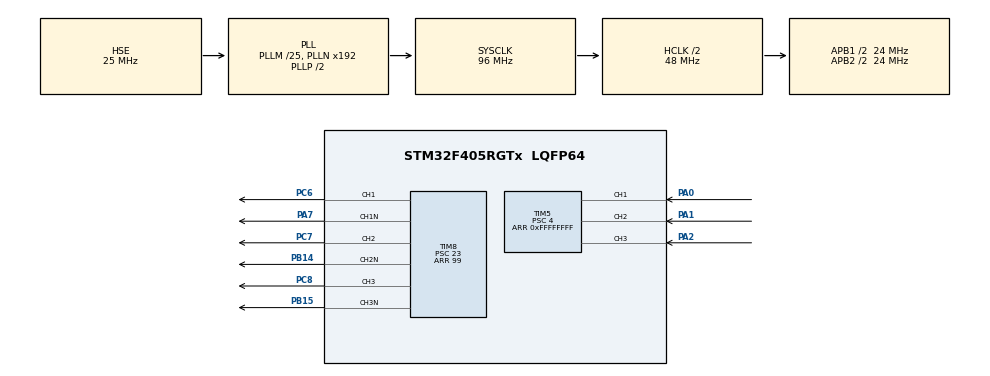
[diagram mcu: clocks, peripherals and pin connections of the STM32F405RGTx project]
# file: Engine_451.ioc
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Mcu.Family=STM32F4
Mcu.Name=STM32F405RGTx
Mcu.Package=LQFP64
NVIC.PriorityGroup=NVIC_PRIORITYGROUP_4
NVIC.TIM5_IRQn=true\:0\:0\:false\:false\:false\:true\:true
NVIC.TIM8_TRG_COM_TIM14_IRQn=true\:0\:0\:false\:false\:false\:true\:true
NVIC.TIM8_UP_TIM13_IRQn=true\:0\:0\:false\:false\:true\:true\:true
PA0-WKUP.GPIO_PuPd=GPIO_PULLUP
PA0-WKUP.GPIO_Speed=GPIO_SPEED_FREQ_VERY_HIGH
PA0-WKUP.Signal=S_TIM5_CH1
PA1.GPIO_PuPd=GPIO_PULLUP
PA1.GPIO_Speed=GPIO_SPEED_FREQ_VERY_HIGH
PA1.Signal=S_TIM5_CH2
PA2.GPIO_PuPd=GPIO_PULLUP
PA2.GPIO_Speed=GPIO_SPEED_FREQ_VERY_HIGH
PA2.Signal=S_TIM5_CH3
PA7.GPIO_PuPd=GPIO_PULLUP
PA7.GPIO_Speed=GPIO_SPEED_FREQ_VERY_HIGH
PA7.Mode=PWM Generation1 CH1 CH1N
PA7.Signal=TIM8_CH1N
PB14.GPIO_PuPd=GPIO_PULLUP
PB14.GPIO_Speed=GPIO_SPEED_FREQ_VERY_HIGH
PB14.Mode=PWM Generation2 CH2 CH2N
PB14.Signal=TIM8_CH2N
PB15.GPIO_PuPd=GPIO_PULLUP
PB15.GPIO_Speed=GPIO_SPEED_FREQ_VERY_HIGH
PB15.Mode=PWM Generation3 CH3 CH3N
PB15.Signal=TIM8_CH3N
PC6.GPIO_PuPd=GPIO_PULLUP
PC6.GPIO_Speed=GPIO_SPEED_FREQ_VERY_HIGH
PC6.Signal=S_TIM8_CH1
PC7.GPIO_PuPd=GPIO_PULLUP
PC7.GPIO_Speed=GPIO_SPEED_FREQ_VERY_HIGH
PC7.Signal=S_TIM8_CH2
PC8.GPIO_PuPd=GPIO_PULLUP
PC8.GPIO_Speed=GPIO_SPEED_FREQ_VERY_HIGH
PC8.Signal=S_TIM8_CH3
PH0-OSC_IN.Mode=HSE-External-Oscillator
PH0-OSC_IN.Signal=RCC_OSC_IN
PH1-OSC_OUT.Mode=HSE-External-Oscillator
PH1-OSC_OUT.Signal=RCC_OSC_OUT
ProjectManager.HeapSize=0x200
ProjectManager.StackSize=0x400
ProjectManager.TargetToolchain=MDK-ARM V5
RCC.48MHZClocksFreq_Value=48000000
RCC.AHBCLKDivider=RCC_SYSCLK_DIV2
RCC.AHBFreq_Value=48000000
RCC.APB1CLKDivider=RCC_HCLK_DIV2
RCC.APB1Freq_Value=24000000
RCC.APB1TimFreq_Value=48000000
RCC.APB2CLKDivider=RCC_HCLK_DIV2
RCC.APB2Freq_Value=24000000
RCC.APB2TimFreq_Value=48000000
RCC.CortexFreq_Value=48000000
RCC.HCLKFreq_Value=48000000
RCC.HSE_VALUE=25000000
RCC.HSI_VALUE=16000000
RCC.LSE_VALUE=32768
RCC.PLLM=25
RCC.PLLSourceVirtual=RCC_PLLSOURCE_HSE
RCC.SYSCLKFreq_VALUE=96000000
RCC.SYSCLKSource=RCC_SYSCLKSOURCE_PLLCLK
RCC.VCOOutputFreq_Value=192000000
SH.S_TIM5_CH1.0=TIM5_CH1,Input_Capture1_from_TI1
SH.S_TIM5_CH1.1=TIM5_CH1,TriggerSource_TI1FP1
SH.S_TIM5_CH2.0=TIM5_CH2,Input_Capture2_from_TI2
SH.S_TIM5_CH3.0=TIM5_CH3,Input_Capture3_from_TI3
SH.S_TIM8_CH1.0=TIM8_CH1,PWM Generation1 CH1 CH1N
SH.S_TIM8_CH2.0=TIM8_CH2,PWM Generation2 CH2 CH2N
SH.S_TIM8_CH3.0=TIM8_CH3,PWM Generation3 CH3 CH3N
TIM13.Period=499
TIM13.Prescaler=47999
TIM14.Period=0xffff
TIM14.Prescaler=4
TIM5.Channel-Input_Capture1_from_TI1=TIM_CHANNEL_1
TIM5.Channel-Input_Capture2_from_TI2=TIM_CHANNEL_2
TIM5.Channel-Input_Capture3_from_TI3=TIM_CHANNEL_3
TIM5.ICFilter_CH1=15
TIM5.ICFilter_CH2=15
TIM5.ICFilter_CH3=15
TIM5.ICPolarity_CH1=TIM_INPUTCHANNELPOLARITY_RISING
TIM5.ICPolarity_CH2=TIM_INPUTCHANNELPOLARITY_RISING
TIM5.ICPolarity_CH3=TIM_INPUTCHANNELPOLARITY_RISING
TIM5.Period=0xFFFFFFFF
TIM5.Prescaler=4
TIM8.AutomaticOutput=TIM_AUTOMATICOUTPUT_DISABLE
TIM8.Channel-PWM\ Generation1\ CH1\ CH1N=TIM_CHANNEL_1
TIM8.Channel-PWM\ Generation2\ CH2\ CH2N=TIM_CHANNEL_2
TIM8.Channel-PWM\ Generation3\ CH3\ CH3N=TIM_CHANNEL_3
TIM8.DeadTime=0
TIM8.OCFastMode_PWM-PWM\ Generation1\ CH1\ CH1N=TIM_OCFAST_DISABLE
TIM8.OCFastMode_PWM-PWM\ Generation2\ CH2\ CH2N=TIM_OCFAST_DISABLE
TIM8.OCFastMode_PWM-PWM\ Generation3\ CH3\ CH3N=TIM_OCFAST_DISABLE
TIM8.OCIdleState_1=TIM_OCIDLESTATE_RESET
TIM8.OCIdleState_2=TIM_OCIDLESTATE_RESET
TIM8.OCIdleState_3=TIM_OCIDLESTATE_RESET
TIM8.OCNIdleState_1=TIM_OCNIDLESTATE_SET
TIM8.OCNIdleState_2=TIM_OCNIDLESTATE_SET
TIM8.OCNIdleState_3=TIM_OCNIDLESTATE_SET
TIM8.OCNPolarity_1=TIM_OCNPOLARITY_LOW
TIM8.OCNPolarity_2=TIM_OCNPOLARITY_LOW
TIM8.OCNPolarity_3=TIM_OCNPOLARITY_LOW
TIM8.OCPolarity_1=TIM_OCPOLARITY_LOW
TIM8.OCPolarity_2=TIM_OCPOLARITY_LOW
TIM8.OCPolarity_3=TIM_OCPOLARITY_LOW
TIM8.Period=99
TIM8.Prescaler=23
TIM8.Pulse-PWM\ Generation1\ CH1\ CH1N=9
TIM8.Pulse-PWM\ Generation2\ CH2\ CH2N=9
TIM8.Pulse-PWM\ Generation3\ CH3\ CH3N=9
VP_TIM13_VS_ClockSourceINT.Mode=Enable_Timer
VP_TIM14_VS_ClockSourceINT.Mode=Enable_Timer
VP_TIM5_VS_ControllerModeReset.Mode=Reset Mode
VP_TIM8_VS_ClockSourceINT.Mode=Internal
board=custom

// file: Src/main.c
/* USER CODE BEGIN Header */
/**
  ******************************************************************************
  * @file           : main.c
  * @brief          : Main program body
  ******************************************************************************
  * @attention
  *
  * <h2><center>&copy; Copyright (c) 2022 STMicroelectronics.
  * All rights reserved.</center></h2>
  *
  * This software component is licensed by ST under BSD 3-Clause license,
  * the "License"; You may not use this file except in compliance with the
  * License. You may obtain a copy of the License at:
  *                        opensource.org/licenses/BSD-3-Clause
  *
  ******************************************************************************
  */
/* USER CODE END Header */
#include "main.h"

/* USER CODE BEGIN Includes */
#include "motor.h"
/* USER CODE END Includes */

TIM_HandleTypeDef htim5;
TIM_HandleTypeDef htim8;
TIM_HandleTypeDef htim13;
TIM_HandleTypeDef htim14;

/* USER CODE BEGIN PV */
uint16_t velocity = 100;
uint8_t c = 0;

/* USER CODE END PV */

void SystemClock_Config(void);
static void MX_GPIO_Init(void);
static void MX_TIM8_Init(void);
static void MX_TIM14_Init(void);
static void MX_TIM5_Init(void);
static void MX_TIM13_Init(void);

int main(void)
{
  /* USER CODE BEGIN 1 */
	// TIM

  /* USER CODE END 1 */

  /* MCU Configuration--------------------------------------------------------*/

  /* Reset of all peripherals, Initializes the Flash interface and the Systick. */
  HAL_Init();

  /* Configure the system clock */
  SystemClock_Config();

  /* Initialize all configured peripherals */
  MX_GPIO_Init();
  MX_TIM8_Init();
  MX_TIM14_Init();
  MX_TIM5_Init();
  MX_TIM13_Init();
  /* USER CODE BEGIN 2 */

	HAL_TIM_PWM_Start(&htim8, TIM_CHANNEL_1);
	HAL_TIMEx_PWMN_Start(&htim8, TIM_CHANNEL_1);

	HAL_TIM_PWM_Start(&htim8, TIM_CHANNEL_2);
	HAL_TIMEx_PWMN_Start(&htim8, TIM_CHANNEL_2);

	HAL_TIM_PWM_Start(&htim8, TIM_CHANNEL_3);
	HAL_TIMEx_PWMN_Start(&htim8, TIM_CHANNEL_3);

	HAL_TIM_Base_Start_IT(&htim13);

	HAL_TIM_IC_Start_IT(&htim5, TIM_CHANNEL_1);
	HAL_TIM_IC_Start_IT(&htim5, TIM_CHANNEL_2);
	HAL_TIM_IC_Start_IT(&htim5, TIM_CHANNEL_3);

	//For state 2:
	TIM8->CCER &= ~0x555;  	//Disable CH3N
	TIM8->CCER |= 0x555; 		//Enable CH3

	motor_init();
	Enable(1);
	SetDirection(1);
	StartOpenLoop();
	//SetPower(40);

	HAL_Delay(3000);

  /* USER CODE END 2 */

  /* Infinite loop */
  /* USER CODE BEGIN WHILE */
  while (1)
  {
		//SetSpeed(velocity);
		if(direction == direction_user){
			SetSpeed(velocity);
		}
		else{

			SetSpeed(10);
			if(mean_rate < 30){
				direction = direction_user;
			}
		}
		HAL_Delay(1);
    /* USER CODE END WHILE */

  }
}

void SystemClock_Config(void)
{
  RCC_OscInitTypeDef RCC_OscInitStruct = {0};
  RCC_ClkInitTypeDef RCC_ClkInitStruct = {0};

  /** Configure the main internal regulator output voltage
  */
  __HAL_RCC_PWR_CLK_ENABLE();
  __HAL_PWR_VOLTAGESCALING_CONFIG(PWR_REGULATOR_VOLTAGE_SCALE1);
  /** Initializes the RCC Oscillators according to the specified parameters
  * in the RCC_OscInitTypeDef structure.
  */
  RCC_OscInitStruct.OscillatorType = RCC_OSCILLATORTYPE_HSE;
  RCC_OscInitStruct.HSEState = RCC_HSE_ON;
  RCC_OscInitStruct.PLL.PLLState = RCC_PLL_ON;
  RCC_OscInitStruct.PLL.PLLSource = RCC_PLLSOURCE_HSE;
  RCC_OscInitStruct.PLL.PLLM = 25;
  RCC_OscInitStruct.PLL.PLLN = 192;
  RCC_OscInitStruct.PLL.PLLP = RCC_PLLP_DIV2;
  RCC_OscInitStruct.PLL.PLLQ = 4;
  if (HAL_RCC_OscConfig(&RCC_OscInitStruct) != HAL_OK)
  {
    Error_Handler();
  }
  /** Initializes the CPU, AHB and APB buses clocks
  */
  RCC_ClkInitStruct.ClockType = RCC_CLOCKTYPE_HCLK|RCC_CLOCKTYPE_SYSCLK
                              |RCC_CLOCKTYPE_PCLK1|RCC_CLOCKTYPE_PCLK2;
  RCC_ClkInitStruct.SYSCLKSource = RCC_SYSCLKSOURCE_PLLCLK;
  RCC_ClkInitStruct.AHBCLKDivider = RCC_SYSCLK_DIV2;
  RCC_ClkInitStruct.APB1CLKDivider = RCC_HCLK_DIV2;
  RCC_ClkInitStruct.APB2CLKDivider = RCC_HCLK_DIV2;

  if (HAL_RCC_ClockConfig(&RCC_ClkInitStruct, FLASH_LATENCY_1) != HAL_OK)
  {
    Error_Handler();
  }
}

static void MX_TIM5_Init(void)
{

  TIM_SlaveConfigTypeDef sSlaveConfig = {0};
  TIM_MasterConfigTypeDef sMasterConfig = {0};
  TIM_IC_InitTypeDef sConfigIC = {0};

  htim5.Instance = TIM5;
  htim5.Init.Prescaler = 4;
  htim5.Init.CounterMode = TIM_COUNTERMODE_UP;
  htim5.Init.Period = 0xFFFFFFFF;
  htim5.Init.ClockDivision = TIM_CLOCKDIVISION_DIV1;
  htim5.Init.AutoReloadPreload = TIM_AUTORELOAD_PRELOAD_DISABLE;
  if (HAL_TIM_Base_Init(&htim5) != HAL_OK)
  {
    Error_Handler();
  }
  if (HAL_TIM_IC_Init(&htim5) != HAL_OK)
  {
    Error_Handler();
  }
  sSlaveConfig.SlaveMode = TIM_SLAVEMODE_RESET;
  sSlaveConfig.InputTrigger = TIM_TS_TI1FP1;
  sSlaveConfig.TriggerPolarity = TIM_INPUTCHANNELPOLARITY_RISING;
  sSlaveConfig.TriggerFilter = 0;
  if (HAL_TIM_SlaveConfigSynchro(&htim5, &sSlaveConfig) != HAL_OK)
  {
    Error_Handler();
  }
  sMasterConfig.MasterOutputTrigger = TIM_TRGO_RESET;
  sMasterConfig.MasterSlaveMode = TIM_MASTERSLAVEMODE_DISABLE;
  if (HAL_TIMEx_MasterConfigSynchronization(&htim5, &sMasterConfig) != HAL_OK)
  {
    Error_Handler();
  }
  sConfigIC.ICPolarity = TIM_INPUTCHANNELPOLARITY_RISING;
  sConfigIC.ICSelection = TIM_ICSELECTION_DIRECTTI;
  sConfigIC.ICPrescaler = TIM_ICPSC_DIV1;
  sConfigIC.ICFilter = 15;
  if (HAL_TIM_IC_ConfigChannel(&htim5, &sConfigIC, TIM_CHANNEL_1) != HAL_OK)
  {
    Error_Handler();
  }
  if (HAL_TIM_IC_ConfigChannel(&htim5, &sConfigIC, TIM_CHANNEL_2) != HAL_OK)
  {
    Error_Handler();
  }
  if (HAL_TIM_IC_ConfigChannel(&htim5, &sConfigIC, TIM_CHANNEL_3) != HAL_OK)
  {
    Error_Handler();
  }

}

static void MX_TIM8_Init(void)
{

  TIM_ClockConfigTypeDef sClockSourceConfig = {0};
  TIM_MasterConfigTypeDef sMasterConfig = {0};
  TIM_OC_InitTypeDef sConfigOC = {0};
  TIM_BreakDeadTimeConfigTypeDef sBreakDeadTimeConfig = {0};

  htim8.Instance = TIM8;
  htim8.Init.Prescaler = 23;
  htim8.Init.CounterMode = TIM_COUNTERMODE_UP;
  htim8.Init.Period = 99;
  htim8.Init.ClockDivision = TIM_CLOCKDIVISION_DIV1;
  htim8.Init.RepetitionCounter = 0;
  htim8.Init.AutoReloadPreload = TIM_AUTORELOAD_PRELOAD_DISABLE;
  if (HAL_TIM_Base_Init(&htim8) != HAL_OK)
  {
    Error_Handler();
  }
  sClockSourceConfig.ClockSource = TIM_CLOCKSOURCE_INTERNAL;
  if (HAL_TIM_ConfigClockSource(&htim8, &sClockSourceConfig) != HAL_OK)
  {
    Error_Handler();
  }
  if (HAL_TIM_PWM_Init(&htim8) != HAL_OK)
  {
    Error_Handler();
  }
  sMasterConfig.MasterOutputTrigger = TIM_TRGO_RESET;
  sMasterConfig.MasterSlaveMode = TIM_MASTERSLAVEMODE_DISABLE;
  if (HAL_TIMEx_MasterConfigSynchronization(&htim8, &sMasterConfig) != HAL_OK)
  {
    Error_Handler();
  }
  sConfigOC.OCMode = TIM_OCMODE_PWM1;
  sConfigOC.Pulse = 9;
  sConfigOC.OCPolarity = TIM_OCPOLARITY_LOW;
  sConfigOC.OCNPolarity = TIM_OCNPOLARITY_LOW;
  sConfigOC.OCFastMode = TIM_OCFAST_DISABLE;
  sConfigOC.OCIdleState = TIM_OCIDLESTATE_RESET;
  sConfigOC.OCNIdleState = TIM_OCNIDLESTATE_SET;
  if (HAL_TIM_PWM_ConfigChannel(&htim8, &sConfigOC, TIM_CHANNEL_1) != HAL_OK)
  {
    Error_Handler();
  }
  if (HAL_TIM_PWM_ConfigChannel(&htim8, &sConfigOC, TIM_CHANNEL_2) != HAL_OK)
  {
    Error_Handler();
  }
  if (HAL_TIM_PWM_ConfigChannel(&htim8, &sConfigOC, TIM_CHANNEL_3) != HAL_OK)
  {
    Error_Handler();
  }
  sBreakDeadTimeConfig.OffStateRunMode = TIM_OSSR_DISABLE;
  sBreakDeadTimeConfig.OffStateIDLEMode = TIM_OSSI_DISABLE;
  sBreakDeadTimeConfig.LockLevel = TIM_LOCKLEVEL_OFF;
  sBreakDeadTimeConfig.DeadTime = 0;
  sBreakDeadTimeConfig.BreakState = TIM_BREAK_DISABLE;
  sBreakDeadTimeConfig.BreakPolarity = TIM_BREAKPOLARITY_HIGH;
  sBreakDeadTimeConfig.AutomaticOutput = TIM_AUTOMATICOUTPUT_DISABLE;
  if (HAL_TIMEx_ConfigBreakDeadTime(&htim8, &sBreakDeadTimeConfig) != HAL_OK)
  {
    Error_Handler();
  }
  HAL_TIM_MspPostInit(&htim8);

}

static void MX_TIM13_Init(void)
{

  htim13.Instance = TIM13;
  htim13.Init.Prescaler = 47999;
  htim13.Init.CounterMode = TIM_COUNTERMODE_UP;
  htim13.Init.Period = 499;
  htim13.Init.ClockDivision = TIM_CLOCKDIVISION_DIV1;
  htim13.Init.AutoReloadPreload = TIM_AUTORELOAD_PRELOAD_DISABLE;
  if (HAL_TIM_Base_Init(&htim13) != HAL_OK)
  {
    Error_Handler();
  }

}

static void MX_TIM14_Init(void)
{

  htim14.Instance = TIM14;
  htim14.Init.Prescaler = 4;
  htim14.Init.CounterMode = TIM_COUNTERMODE_UP;
  htim14.Init.Period = 0xffff;
  htim14.Init.ClockDivision = TIM_CLOCKDIVISION_DIV1;
  htim14.Init.AutoReloadPreload = TIM_AUTORELOAD_PRELOAD_DISABLE;
  if (HAL_TIM_Base_Init(&htim14) != HAL_OK)
  {
    Error_Handler();
  }

}

static void MX_GPIO_Init(void)
{

  /* GPIO Ports Clock Enable */
  __HAL_RCC_GPIOH_CLK_ENABLE();
  __HAL_RCC_GPIOA_CLK_ENABLE();
  __HAL_RCC_GPIOB_CLK_ENABLE();
  __HAL_RCC_GPIOC_CLK_ENABLE();

}

void Error_Handler(void)
{
}

/************************ (C) COPYRIGHT STMicroelectronics *****END OF FILE****/
